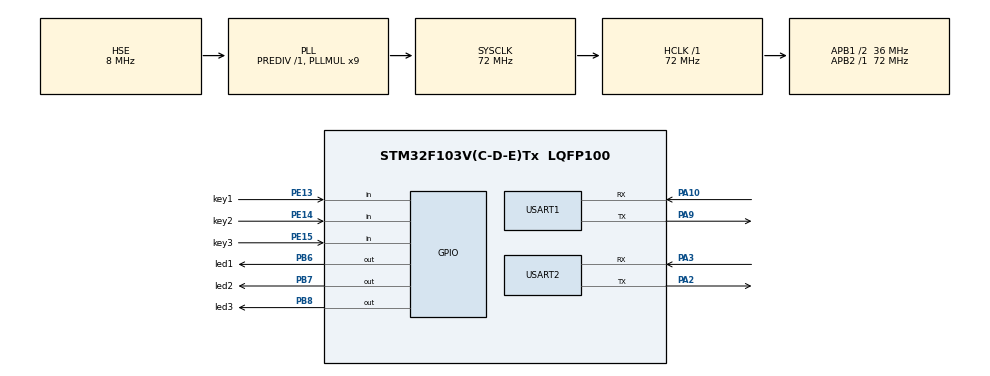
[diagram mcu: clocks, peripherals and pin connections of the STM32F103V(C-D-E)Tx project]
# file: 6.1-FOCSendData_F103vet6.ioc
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Dma.Request0=USART1_RX
Dma.Request1=USART1_TX
Dma.USART1_RX.0.Direction=DMA_PERIPH_TO_MEMORY
Dma.USART1_RX.0.Instance=DMA1_Channel5
Dma.USART1_RX.0.MemDataAlignment=DMA_MDATAALIGN_BYTE
Dma.USART1_RX.0.MemInc=DMA_MINC_ENABLE
Dma.USART1_RX.0.Mode=DMA_NORMAL
Dma.USART1_RX.0.PeriphDataAlignment=DMA_PDATAALIGN_BYTE
Dma.USART1_RX.0.PeriphInc=DMA_PINC_DISABLE
Dma.USART1_RX.0.Priority=DMA_PRIORITY_LOW
Dma.USART1_TX.1.Direction=DMA_MEMORY_TO_PERIPH
Dma.USART1_TX.1.Instance=DMA1_Channel4
Dma.USART1_TX.1.MemDataAlignment=DMA_MDATAALIGN_BYTE
Dma.USART1_TX.1.MemInc=DMA_MINC_ENABLE
Dma.USART1_TX.1.Mode=DMA_NORMAL
Dma.USART1_TX.1.PeriphDataAlignment=DMA_PDATAALIGN_BYTE
Dma.USART1_TX.1.PeriphInc=DMA_PINC_DISABLE
Dma.USART1_TX.1.Priority=DMA_PRIORITY_LOW
Mcu.Family=STM32F1
Mcu.Name=STM32F103V(C-D-E)Tx
Mcu.Package=LQFP100
NVIC.DMA1_Channel4_IRQn=true\:0\:0\:false\:false\:true\:false\:true\:true
NVIC.DMA1_Channel5_IRQn=true\:0\:0\:false\:false\:true\:false\:true\:true
NVIC.PriorityGroup=NVIC_PRIORITYGROUP_4
NVIC.TIM2_IRQn=true\:0\:0\:false\:false\:true\:true\:true\:true
NVIC.USART1_IRQn=true\:0\:0\:false\:false\:true\:true\:true\:true
OSC_IN.Mode=HSE-External-Oscillator
OSC_IN.Signal=RCC_OSC_IN
OSC_OUT.Mode=HSE-External-Oscillator
OSC_OUT.Signal=RCC_OSC_OUT
PA10.Mode=Asynchronous
PA10.Signal=USART1_RX
PA2.Mode=Asynchronous
PA2.Signal=USART2_TX
PA3.Mode=Asynchronous
PA3.Signal=USART2_RX
PA9.Mode=Asynchronous
PA9.Signal=USART1_TX
PB6.GPIO_Label=led1
PB6.GPIO_Speed=GPIO_SPEED_FREQ_HIGH
PB6.PinState=GPIO_PIN_SET
PB6.Signal=GPIO_Output
PB7.GPIO_Label=led2
PB7.GPIO_Speed=GPIO_SPEED_FREQ_HIGH
PB7.PinState=GPIO_PIN_SET
PB7.Signal=GPIO_Output
PB8.GPIO_Label=led3
PB8.GPIO_Speed=GPIO_SPEED_FREQ_HIGH
PB8.PinState=GPIO_PIN_SET
PB8.Signal=GPIO_Output
PC14-OSC32_IN.Mode=LSE-External-Oscillator
PC14-OSC32_IN.Signal=RCC_OSC32_IN
PC15-OSC32_OUT.Mode=LSE-External-Oscillator
PC15-OSC32_OUT.Signal=RCC_OSC32_OUT
PE13.GPIO_Label=key1
PE13.GPIO_PuPd=GPIO_PULLUP
PE13.Signal=GPIO_Input
PE14.GPIO_Label=key2
PE14.GPIO_PuPd=GPIO_PULLUP
PE14.Signal=GPIO_Input
PE15.GPIO_Label=key3
PE15.GPIO_PuPd=GPIO_PULLUP
PE15.Signal=GPIO_Input
ProjectManager.HeapSize=0x200
ProjectManager.StackSize=0x400
ProjectManager.TargetToolchain=MDK-ARM V5
RCC.AHBFreq_Value=72000000
RCC.APB1CLKDivider=RCC_HCLK_DIV2
RCC.APB1Freq_Value=36000000
RCC.APB1TimFreq_Value=72000000
RCC.APB2Freq_Value=72000000
RCC.APB2TimFreq_Value=72000000
RCC.HCLKFreq_Value=72000000
RCC.PLLMUL=RCC_PLL_MUL9
RCC.PLLSourceVirtual=RCC_PLLSOURCE_HSE
RCC.SYSCLKFreq_VALUE=72000000
RCC.SYSCLKSource=RCC_SYSCLKSOURCE_PLLCLK
RCC.USBFreq_Value=72000000
TIM2.AutoReloadPreload=TIM_AUTORELOAD_PRELOAD_ENABLE
TIM2.Period=1000-1
TIM2.Prescaler=72-1
USART1.VirtualMode=VM_ASYNC
USART2.VirtualMode=VM_ASYNC
VP_SYS_VS_ND.Mode=No_Debug
VP_TIM2_VS_ClockSourceINT.Mode=Internal
board=custom

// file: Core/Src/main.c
/* USER CODE BEGIN Header */
/**
 ******************************************************************************
 * @file           : main.c
 * @brief          : Main program body
 ******************************************************************************
 * @attention
 *
 * Copyright (c) 2026 STMicroelectronics.
 * All rights reserved.
 *
 * This software is licensed under terms that can be found in the LICENSE file
 * in the root directory of this software component.
 * If no LICENSE file comes with this software, it is provided AS-IS.
 *
 ******************************************************************************
 */
/* USER CODE END Header */
#include "main.h"
#include "dma.h"
#include "tim.h"
#include "usart.h"
#include "gpio.h"

/* USER CODE BEGIN Includes */
#include "key.h"
#include "Trajectory.h"
#include "serial.h"
/* USER CODE END Includes */

/* USER CODE BEGIN PTD */
struct Struct_Run Run;
struct Struct_Rx rx;

/* USER CODE END PTD */

void SystemClock_Config(void);

/* USER CODE BEGIN 0 */
void HAL_TIM_PeriodElapsedCallback(TIM_HandleTypeDef *htim)
{
  if (htim->Instance == TIM2)
  {
    Key_Tick();
    if (Run.Runflag)
    {
      Run.Time2_Count++;
      if (Run.Time2_Count == 2)
      {
        Run.Time2_Count = 0;
        Run.time += 0.002;
        GetP_V(Run.time, &traj);
        HAL_UART_Transmit(&huart2, (uint8_t *)&traj.position, sizeof(traj.position), 2);
      }
    }
    else
    {
      if (rx.flag == 1 && rx.process_flag == 1)
      {
        rx.flag = 0;
        rx.process_flag = 0;
        HAL_UART_Transmit(&huart1, (uint8_t *)&traj.position, sizeof(traj.position), 2);
        // HAL_UART_Transmit(&huart1, (uint8_t *)"\r\n", 2, 2);
        if (traj.pos1 <= 33)
          HAL_GPIO_TogglePin(led1_GPIO_Port, led1_Pin);
        Traj_Init(traj.maxAcc, traj.maxVel, traj.pos1, traj.pos2, &traj);
      }
    }
  }
}
/* USER CODE END 0 */

int main(void)
{

  /* MCU Configuration--------------------------------------------------------*/

  /* Reset of all peripherals, Initializes the Flash interface and the Systick. */
  HAL_Init();

  /* Configure the system clock */
  SystemClock_Config();

  /* Initialize all configured peripherals */
  MX_GPIO_Init();
  MX_DMA_Init();
  MX_TIM2_Init();
  MX_USART2_UART_Init();
  MX_USART1_UART_Init();
  /* USER CODE BEGIN 2 */
  HAL_TIM_Base_Start_IT(&htim2);
  __HAL_UART_ENABLE_IT(&huart1, UART_IT_IDLE);
  /* USER CODE END 2 */

  /* Infinite loop */
  while (1)
  {

    /* USER CODE BEGIN 3 */
    if (rx.flag == 1 && rx.process_flag == 0)
    {
      memset(&traj, 0, sizeof(traj));
      Serial_DataProcess(rx.data);
      rx.process_flag = 1;
      HAL_GPIO_TogglePin(led2_GPIO_Port, led2_Pin);
    }
    // HAL_GPIO_TogglePin(led2_GPIO_Port, led2_Pin);
    // HAL_Delay(500);
  }
  /* USER CODE END 3 */
}

void SystemClock_Config(void)
{
  RCC_OscInitTypeDef RCC_OscInitStruct = {0};
  RCC_ClkInitTypeDef RCC_ClkInitStruct = {0};

  /** Initializes the RCC Oscillators according to the specified parameters
   * in the RCC_OscInitTypeDef structure.
   */
  RCC_OscInitStruct.OscillatorType = RCC_OSCILLATORTYPE_HSE;
  RCC_OscInitStruct.HSEState = RCC_HSE_ON;
  RCC_OscInitStruct.HSEPredivValue = RCC_HSE_PREDIV_DIV1;
  RCC_OscInitStruct.HSIState = RCC_HSI_ON;
  RCC_OscInitStruct.PLL.PLLState = RCC_PLL_ON;
  RCC_OscInitStruct.PLL.PLLSource = RCC_PLLSOURCE_HSE;
  RCC_OscInitStruct.PLL.PLLMUL = RCC_PLL_MUL9;
  if (HAL_RCC_OscConfig(&RCC_OscInitStruct) != HAL_OK)
  {
    Error_Handler();
  }

  /** Initializes the CPU, AHB and APB buses clocks
   */
  RCC_ClkInitStruct.ClockType = RCC_CLOCKTYPE_HCLK | RCC_CLOCKTYPE_SYSCLK | RCC_CLOCKTYPE_PCLK1 | RCC_CLOCKTYPE_PCLK2;
  RCC_ClkInitStruct.SYSCLKSource = RCC_SYSCLKSOURCE_PLLCLK;
  RCC_ClkInitStruct.AHBCLKDivider = RCC_SYSCLK_DIV1;
  RCC_ClkInitStruct.APB1CLKDivider = RCC_HCLK_DIV2;
  RCC_ClkInitStruct.APB2CLKDivider = RCC_HCLK_DIV1;

  if (HAL_RCC_ClockConfig(&RCC_ClkInitStruct, FLASH_LATENCY_2) != HAL_OK)
  {
    Error_Handler();
  }
}

void Error_Handler(void)
{
  __disable_irq();
  while (1)
  {
  }
}
